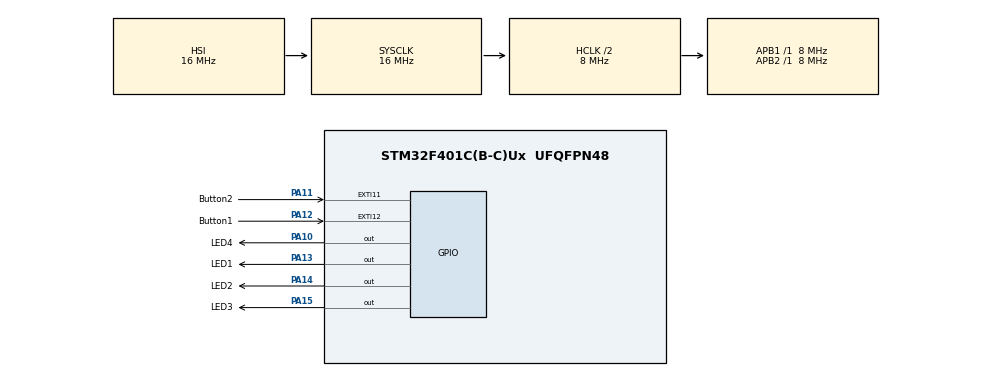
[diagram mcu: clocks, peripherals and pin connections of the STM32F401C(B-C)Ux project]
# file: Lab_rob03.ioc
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Mcu.Family=STM32F4
Mcu.Name=STM32F401C(B-C)Ux
Mcu.Package=UFQFPN48
NVIC.EXTI15_10_IRQn=true\:0\:0\:false\:true\:true\:1\:true\:true\:true
NVIC.PriorityGroup=NVIC_PRIORITYGROUP_4
PA10.GPIO_Label=LED4
PA10.Signal=GPIO_Output
PA11.GPIO_Label=Button2
PA11.GPIO_ModeDefaultEXTI=GPIO_MODE_IT_FALLING
PA11.Signal=GPXTI11
PA12.GPIO_Label=Button1
PA12.GPIO_ModeDefaultEXTI=GPIO_MODE_IT_FALLING
PA12.Signal=GPXTI12
PA13.GPIO_Label=LED1
PA13.Signal=GPIO_Output
PA14.GPIO_Label=LED2
PA14.Signal=GPIO_Output
PA15.GPIO_Label=LED3
PA15.Signal=GPIO_Output
ProjectManager.HeapSize=0x200
ProjectManager.StackSize=0x400
ProjectManager.TargetToolchain=STM32CubeIDE
RCC.AHBCLKDivider=RCC_SYSCLK_DIV2
RCC.AHBFreq_Value=8000000
RCC.APB1Freq_Value=8000000
RCC.APB1TimFreq_Value=8000000
RCC.APB2Freq_Value=8000000
RCC.APB2TimFreq_Value=8000000
RCC.CortexFreq_Value=8000000
RCC.HCLKFreq_Value=8000000
RCC.HSE_VALUE=25000000
RCC.HSI_VALUE=16000000
RCC.LSE_VALUE=32768
RCC.SYSCLKFreq_VALUE=16000000
RCC.VCOOutputFreq_Value=192000000
board=custom

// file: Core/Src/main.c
/* USER CODE BEGIN Header */
/**
  ******************************************************************************
  * @file           : main.c
  * @brief          : Main program body
  ******************************************************************************
  * @attention
  *
  * Copyright (c) 2022 STMicroelectronics.
  * All rights reserved.
  *
  * This software is licensed under terms that can be found in the LICENSE file
  * in the root directory of this software component.
  * If no LICENSE file comes with this software, it is provided AS-IS.
  *
  ******************************************************************************
  */
/* USER CODE END Header */
#include "main.h"
#include "gpio.h"

/* USER CODE BEGIN PV */
int count = 0;
/* USER CODE END PV */

void SystemClock_Config(void);
static void MX_NVIC_Init(void);

int main(void)
{

  /* MCU Configuration--------------------------------------------------------*/

  /* Reset of all peripherals, Initializes the Flash interface and the Systick. */
  HAL_Init();

  /* Configure the system clock */
  SystemClock_Config();

  /* Initialize all configured peripherals */
  MX_GPIO_Init();

  /* Initialize interrupts */
  MX_NVIC_Init();

  /* Infinite loop */
  while (1)
  {

  }
}

void SystemClock_Config(void)
{
  RCC_OscInitTypeDef RCC_OscInitStruct = {0};
  RCC_ClkInitTypeDef RCC_ClkInitStruct = {0};

  /** Configure the main internal regulator output voltage
  */
  __HAL_RCC_PWR_CLK_ENABLE();
  __HAL_PWR_VOLTAGESCALING_CONFIG(PWR_REGULATOR_VOLTAGE_SCALE2);

  /** Initializes the RCC Oscillators according to the specified parameters
  * in the RCC_OscInitTypeDef structure.
  */
  RCC_OscInitStruct.OscillatorType = RCC_OSCILLATORTYPE_HSI;
  RCC_OscInitStruct.HSIState = RCC_HSI_ON;
  RCC_OscInitStruct.HSICalibrationValue = RCC_HSICALIBRATION_DEFAULT;
  RCC_OscInitStruct.PLL.PLLState = RCC_PLL_NONE;
  if (HAL_RCC_OscConfig(&RCC_OscInitStruct) != HAL_OK)
  {
    Error_Handler();
  }

  /** Initializes the CPU, AHB and APB buses clocks
  */
  RCC_ClkInitStruct.ClockType = RCC_CLOCKTYPE_HCLK|RCC_CLOCKTYPE_SYSCLK
                              |RCC_CLOCKTYPE_PCLK1|RCC_CLOCKTYPE_PCLK2;
  RCC_ClkInitStruct.SYSCLKSource = RCC_SYSCLKSOURCE_HSI;
  RCC_ClkInitStruct.AHBCLKDivider = RCC_SYSCLK_DIV2;
  RCC_ClkInitStruct.APB1CLKDivider = RCC_HCLK_DIV1;
  RCC_ClkInitStruct.APB2CLKDivider = RCC_HCLK_DIV1;

  if (HAL_RCC_ClockConfig(&RCC_ClkInitStruct, FLASH_LATENCY_0) != HAL_OK)
  {
    Error_Handler();
  }
}

/**
  * @brief NVIC Configuration.
  * @retval None
  */
static void MX_NVIC_Init(void)
{
  /* EXTI15_10_IRQn interrupt configuration */
  HAL_NVIC_SetPriority(EXTI15_10_IRQn, 0, 0);
  HAL_NVIC_EnableIRQ(EXTI15_10_IRQn);
}

/* USER CODE BEGIN 4 */
void HAL_GPIO_EXTI_Callback(uint16_t GPIO_Pin)
{

	if(GPIO_Pin == Button1_Pin)
	{
	count++;
	if(count == 1)
	{
		HAL_GPIO_TogglePin(LED1_GPIO_Port, LED1_Pin);
	}
	if(count == 2)
		{
		HAL_GPIO_TogglePin(LED2_GPIO_Port, LED2_Pin);
		}
	if(count == 3)
		{
		HAL_GPIO_TogglePin(LED3_GPIO_Port, LED3_Pin);
		}
	if(count == 4)
		{
		HAL_GPIO_TogglePin(LED4_GPIO_Port, LED4_Pin);
		}
	if(count == 5)
		{
		count = 0;
		HAL_GPIO_TogglePin(LED1_GPIO_Port, LED1_Pin);
		HAL_GPIO_TogglePin(LED2_GPIO_Port, LED2_Pin);
		HAL_GPIO_TogglePin(LED3_GPIO_Port, LED3_Pin);
		HAL_GPIO_TogglePin(LED4_GPIO_Port, LED4_Pin);
		}
	}
	if(GPIO_Pin == Button2_Pin)
	{

			if(count == 1)
			{
				HAL_GPIO_TogglePin(LED1_GPIO_Port, LED1_Pin);
				count--;
			}
			if(count == 2)
				{
				HAL_GPIO_TogglePin(LED2_GPIO_Port, LED2_Pin);
				count--;
				}
			if(count == 3)
				{
				HAL_GPIO_TogglePin(LED3_GPIO_Port, LED3_Pin);
				count--;
				}
			if(count == 4)
				{
				HAL_GPIO_TogglePin(LED4_GPIO_Port, LED4_Pin);
				count--;
				}

	}
}

/* USER CODE END 4 */

void Error_Handler(void)
{
  __disable_irq();
  while (1)
  {
  }
}
